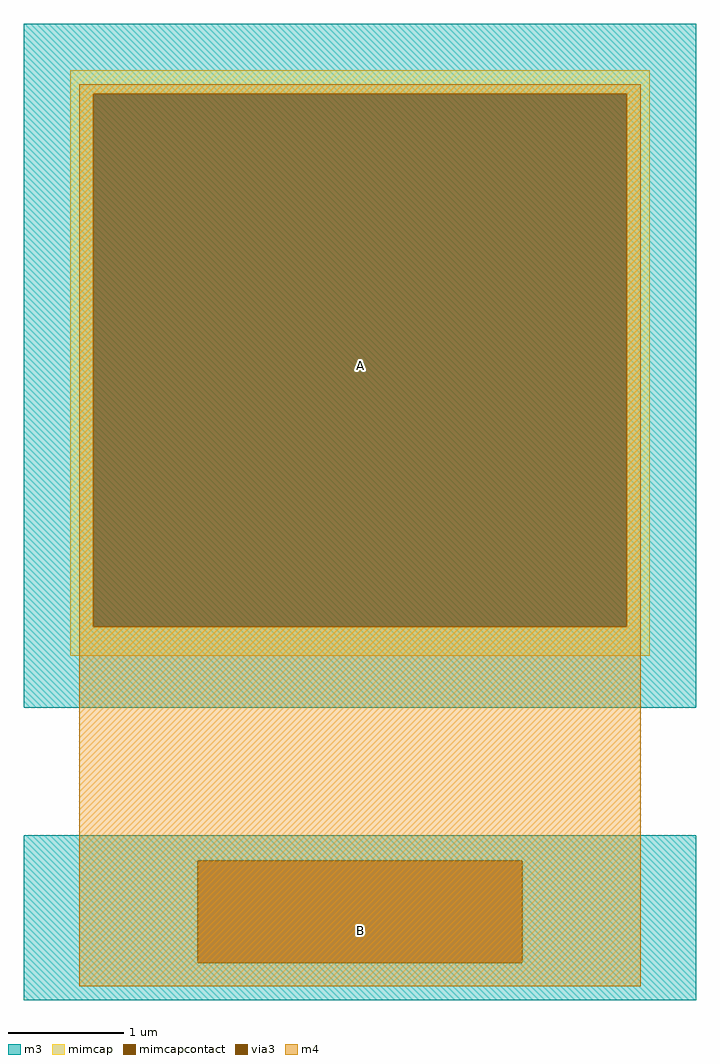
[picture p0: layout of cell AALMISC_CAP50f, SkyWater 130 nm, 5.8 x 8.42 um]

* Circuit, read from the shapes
.subckt AALMISC_CAP50f A B
XC1 B A sky130_fd_pr__cap_mim_m3_1 w=5 l=5.05
.ends

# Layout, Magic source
magic
tech sky130A
magscale 1 1
<< m3 >>
rect 0 252 580 842
rect 0 142 580 120
rect 63 25 90 120
rect 430 25 517 120
rect 0 25 150 120
rect 517 25 580 120
rect 0 0 580 32
<< via3 >>
rect 150 32 430 120
<< mimcap >>
rect 40 782 540 802
rect 40 322 60 782
rect 520 322 540 782
rect 40 297 540 322
<< mimcapcontact >>
rect 60 322 520 782
<< m4 >>
rect 48 782 532 790
rect 48 322 60 782
rect 520 322 532 782
rect 48 162 532 322
rect 48 12 63 162
rect 63 25 450 162
rect 430 32 517 162
rect 63 142  517 162
rect 517 25 532 162
rect 48 12 532 32
<< labels >>
flabel m3 s 0 252 580 842 0 FreeSans 400 0 0 0 A
port 1 nsew signal bidirectional
flabel m3 s 0 0 580 120 0 FreeSans 400 0 0 0 B
port 2 nsew signal bidirectional
<< properties >> 
string FIXED_BBOX 0 0 580 842
<< end >>
